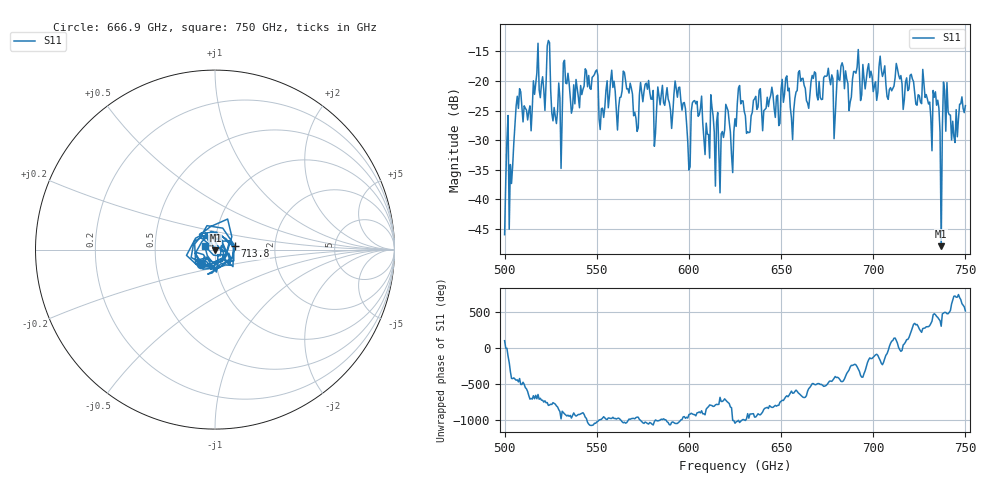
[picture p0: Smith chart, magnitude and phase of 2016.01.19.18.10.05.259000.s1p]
!Created with skrf (http://scikit-rf.org).
# GHz S RI R 50.0
!freq ReS11 ImS11
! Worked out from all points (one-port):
!   401 points, 500 GHz to 750 GHz, reference 50 ohm
!   lowest |S11| = -47.9 dB at 736.9 GHz (marker M1), VSWR 1.01, Z = 50.2 - j0.33 ohm
!   |S11| at or under -10 dB: start of sweep to end of sweep
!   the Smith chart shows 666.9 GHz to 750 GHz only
!   S11 on the Smith chart (normalised r, x): 666.9 GHz: 0.85, -0.14; 713.8 GHz: 1.25, +0.05; 750 GHz: 0.89, +0.04
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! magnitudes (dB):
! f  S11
! 500 GHz  -45.9
! 507.5 GHz  -24.6
! 513.8 GHz  -24.2
! 523.8 GHz  -13.2
! 526.9 GHz  -24.5
! 531.2 GHz  -25.6
! 549.4 GHz  -18.4
! 552.5 GHz  -24.7
! 558.8 GHz  -21.1
! 562.5 GHz  -22.8
! 593.8 GHz  -22.7
! 599.4 GHz  -30.3
! 603.1 GHz  -23.3
! 615.6 GHz  -25.3
! 625 GHz  -26.4
! 628.1 GHz  -23.9
! 631.9 GHz  -28.6
! 651.9 GHz  -22.2
! 656.2 GHz  -29.9
! 666.9 GHz  -19.1
! 687.5 GHz  -23.6
! 713.8 GHz  -19.0
! 718.8 GHz  -21.6
! 733.8 GHz  -21.8
! 736.9 GHz  -47.9
! 739.4 GHz  -28.5
! 743.1 GHz  -26.8
! 750 GHz  -24.2
